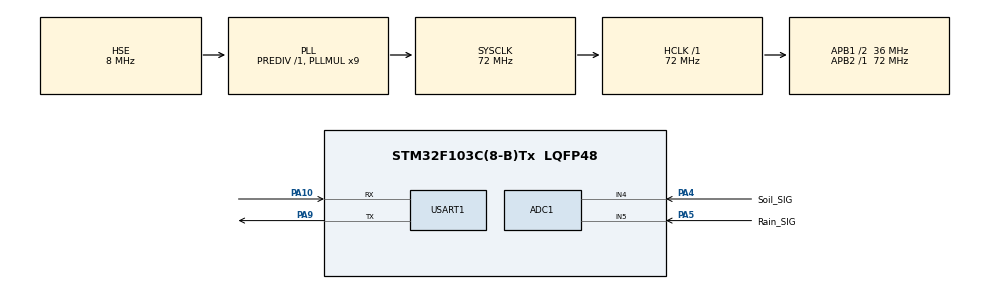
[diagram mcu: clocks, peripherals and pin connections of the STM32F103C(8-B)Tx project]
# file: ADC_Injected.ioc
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ADC1.Channel-0\#ChannelRegularConversion=ADC_CHANNEL_4
ADC1.Channel-1\#ChannelInjectedConversion=ADC_CHANNEL_5
ADC1.EnableInjectedConversion=ENABLE
ADC1.InjNumberOfConversion=1
ADC1.InjectedOffset-1\#ChannelInjectedConversion=0
ADC1.InjectedRank-1\#ChannelInjectedConversion=1
ADC1.NbrOfConversionFlag=1
ADC1.Rank-0\#ChannelRegularConversion=1
ADC1.SamplingTime-0\#ChannelRegularConversion=ADC_SAMPLETIME_1CYCLE_5
ADC1.SamplingTime-1\#ChannelInjectedConversion=ADC_SAMPLETIME_1CYCLE_5
ADC1.master=1
Mcu.Family=STM32F1
Mcu.Name=STM32F103C(8-B)Tx
Mcu.Package=LQFP48
NVIC.ADC1_2_IRQn=true\:0\:0\:false\:false\:true\:true\:true\:true
NVIC.PriorityGroup=NVIC_PRIORITYGROUP_4
PA10.Mode=Asynchronous
PA10.Signal=USART1_RX
PA13.Mode=Serial_Wire
PA13.Signal=SYS_JTMS-SWDIO
PA14.Mode=Serial_Wire
PA14.Signal=SYS_JTCK-SWCLK
PA4.GPIO_Label=Soil_SIG
PA4.Signal=ADCx_IN4
PA5.GPIO_Label=Rain_SIG
PA5.Signal=ADCx_IN5
PA9.Mode=Asynchronous
PA9.Signal=USART1_TX
PC14-OSC32_IN.Mode=LSE-External-Oscillator
PC14-OSC32_IN.Signal=RCC_OSC32_IN
PC15-OSC32_OUT.Mode=LSE-External-Oscillator
PC15-OSC32_OUT.Signal=RCC_OSC32_OUT
PD0-OSC_IN.Mode=HSE-External-Oscillator
PD0-OSC_IN.Signal=RCC_OSC_IN
PD1-OSC_OUT.Mode=HSE-External-Oscillator
PD1-OSC_OUT.Signal=RCC_OSC_OUT
ProjectManager.HeapSize=0x200
ProjectManager.StackSize=0x400
ProjectManager.TargetToolchain=CMake
RCC.ADCPresc=RCC_ADCPCLK2_DIV6
RCC.AHBFreq_Value=72000000
RCC.APB1CLKDivider=RCC_HCLK_DIV2
RCC.APB1Freq_Value=36000000
RCC.APB1TimFreq_Value=72000000
RCC.APB2Freq_Value=72000000
RCC.APB2TimFreq_Value=72000000
RCC.HCLKFreq_Value=72000000
RCC.PLLMUL=RCC_PLL_MUL9
RCC.PLLSourceVirtual=RCC_PLLSOURCE_HSE
RCC.SYSCLKFreq_VALUE=72000000
RCC.SYSCLKSource=RCC_SYSCLKSOURCE_PLLCLK
RCC.USBFreq_Value=72000000
SH.ADCx_IN4.0=ADC1_IN4,IN4
SH.ADCx_IN5.0=ADC1_IN5,IN5
USART1.VirtualMode=VM_ASYNC
board=custom

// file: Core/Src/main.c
/* USER CODE BEGIN Header */
/**
  ******************************************************************************
  * @file           : main.c
  * @brief          : Main program body
  ******************************************************************************
  * @attention
  *
  * Copyright (c) 2025 STMicroelectronics.
  * All rights reserved.
  *
  * This software is licensed under terms that can be found in the LICENSE file
  * in the root directory of this software component.
  * If no LICENSE file comes with this software, it is provided AS-IS.
  *
  ******************************************************************************
  */
/* USER CODE END Header */
#include "main.h"
#include "adc.h"
#include "usart.h"
#include "gpio.h"

/* USER CODE BEGIN Includes */
#include <stdio.h>
/* USER CODE END Includes */

/* USER CODE BEGIN PV */
volatile uint32_t adc_value[2];
float voltage[2];
/* USER CODE END PV */

void SystemClock_Config(void);

int main(void)
{

  /* MCU Configuration--------------------------------------------------------*/

  /* Reset of all peripherals, Initializes the Flash interface and the Systick. */
  HAL_Init();

  /* Configure the system clock */
  SystemClock_Config();

  /* Initialize all configured peripherals */
  MX_GPIO_Init();
  MX_ADC1_Init();
  MX_USART1_UART_Init();
  /* USER CODE BEGIN 2 */
  HAL_ADCEx_Calibration_Start(&hadc1);// Calibrate ADC
  /* USER CODE END 2 */

  /* Infinite loop */
  /* USER CODE BEGIN WHILE */
  while (1)
  {

    HAL_ADC_Start_IT(&hadc1);
    HAL_ADCEx_InjectedStart_IT(&hadc1);

    HAL_StatusTypeDef status_inj = HAL_ADCEx_InjectedStart_IT(&hadc1);
    HAL_StatusTypeDef status_reg = HAL_ADC_Start_IT(&hadc1);
    if (status_reg == HAL_OK) printf("1. Regular Start: SUCCESS!\r\n");
    else
    {
      // 这里的 status_reg 很有可能是 2 (HAL_BUSY)
      printf("1. Regular Start: FAILED! Code=%d (2=BUSY)\r\n", status_reg);

      // 看看此时 ADC 的内部状态
      printf("   -> ADC State: 0x%lX\r\n", HAL_ADC_GetState(&hadc1));
    }
    if (status_inj == HAL_OK) printf("2. Injected Start: SUCCESS!\r\n");
    else printf("2. Injected Start: FAILED! Code=%d\r\n", status_inj);

    if(HAL_ADCEx_InjectedStart_IT(&hadc1) == HAL_OK) printf("Inj Start: OK\r\n");
    if(HAL_ADC_Start_IT(&hadc1) == HAL_OK)           printf("Reg Start: OK\r\n");

    voltage[0] = (float)adc_value[0] * 3.3f / 4095.0f;
    voltage[1] = (float)adc_value[1] * 3.3f / 4095.0f;

    printf("Soil: %.3f V | Rain: %.3f V\r\n", voltage[0], voltage[1]);

    // 简单的判断
    if (voltage[1] > 0.5f) printf("Status: Raining!\r\n");
    else printf("Status: Dry\r\n");

    printf("\r\n");
    HAL_Delay(1000); // 休息 1 秒
  }
  /* USER CODE END 3 */
}

void SystemClock_Config(void)
{
  RCC_OscInitTypeDef RCC_OscInitStruct = {0};
  RCC_ClkInitTypeDef RCC_ClkInitStruct = {0};
  RCC_PeriphCLKInitTypeDef PeriphClkInit = {0};

  /** Initializes the RCC Oscillators according to the specified parameters
  * in the RCC_OscInitTypeDef structure.
  */
  RCC_OscInitStruct.OscillatorType = RCC_OSCILLATORTYPE_HSE;
  RCC_OscInitStruct.HSEState = RCC_HSE_ON;
  RCC_OscInitStruct.HSEPredivValue = RCC_HSE_PREDIV_DIV1;
  RCC_OscInitStruct.HSIState = RCC_HSI_ON;
  RCC_OscInitStruct.PLL.PLLState = RCC_PLL_ON;
  RCC_OscInitStruct.PLL.PLLSource = RCC_PLLSOURCE_HSE;
  RCC_OscInitStruct.PLL.PLLMUL = RCC_PLL_MUL9;
  if (HAL_RCC_OscConfig(&RCC_OscInitStruct) != HAL_OK)
  {
    Error_Handler();
  }

  /** Initializes the CPU, AHB and APB buses clocks
  */
  RCC_ClkInitStruct.ClockType = RCC_CLOCKTYPE_HCLK|RCC_CLOCKTYPE_SYSCLK
                              |RCC_CLOCKTYPE_PCLK1|RCC_CLOCKTYPE_PCLK2;
  RCC_ClkInitStruct.SYSCLKSource = RCC_SYSCLKSOURCE_PLLCLK;
  RCC_ClkInitStruct.AHBCLKDivider = RCC_SYSCLK_DIV1;
  RCC_ClkInitStruct.APB1CLKDivider = RCC_HCLK_DIV2;
  RCC_ClkInitStruct.APB2CLKDivider = RCC_HCLK_DIV1;

  if (HAL_RCC_ClockConfig(&RCC_ClkInitStruct, FLASH_LATENCY_2) != HAL_OK)
  {
    Error_Handler();
  }
  PeriphClkInit.PeriphClockSelection = RCC_PERIPHCLK_ADC;
  PeriphClkInit.AdcClockSelection = RCC_ADCPCLK2_DIV6;
  if (HAL_RCCEx_PeriphCLKConfig(&PeriphClkInit) != HAL_OK)
  {
    Error_Handler();
  }
}

/* USER CODE BEGIN 4 */
void HAL_ADC_ConvCpltCallback(ADC_HandleTypeDef* hadc)
{
  if(hadc->Instance == ADC1)
  {
    adc_value[0] = HAL_ADC_GetValue(hadc);
  }
  printf(">>> [CALLBACK] Regular Finished! (Soil)\r\n");
}

void HAL_ADCEx_InjectedConvCpltCallback(ADC_HandleTypeDef* hadc)
{
  if(hadc->Instance == ADC1)
  {
    adc_value[1] = HAL_ADCEx_InjectedGetValue(hadc, ADC_INJECTED_RANK_1);
  }
  printf(">>> [CALLBACK] Injected Finished! (Rain)\r\n");
}

int _write(int file, char *data, int len)
{
  HAL_UART_Transmit(&huart1, (uint8_t *)data, len, HAL_MAX_DELAY);
  return len;
}
/* USER CODE END 4 */

void Error_Handler(void)
{
  __disable_irq();
  while (1)
  {
  }
}
